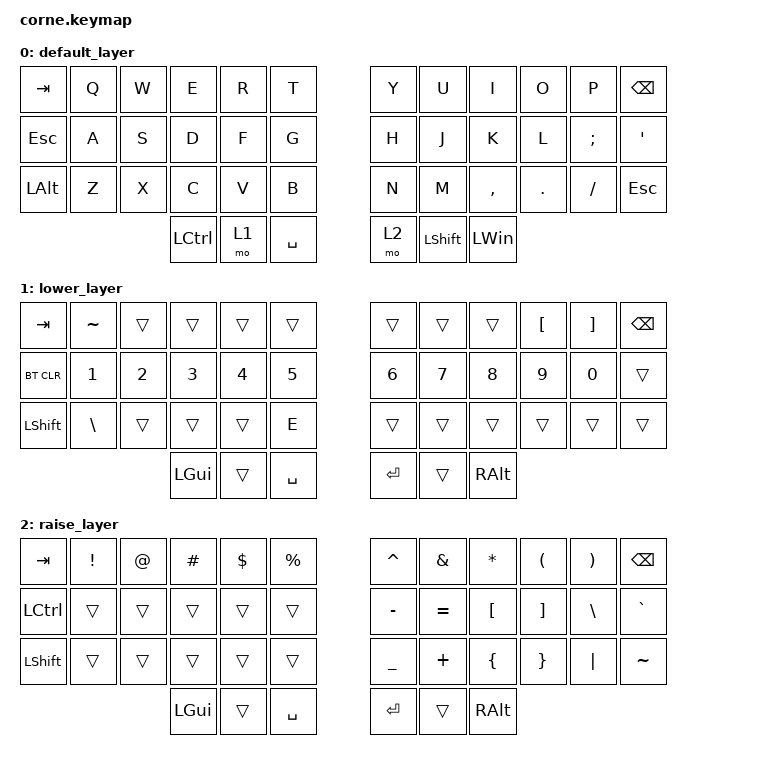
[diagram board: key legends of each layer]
/*
 * Copyright (c) 2020 The ZMK Contributors
 *
 * SPDX-License-Identifier: MIT
 */

#include <behaviors.dtsi>
#include <dt-bindings/zmk/bt.h>
#include <dt-bindings/zmk/keys.h>

/ {
    combos {
        compatible = "zmk,combos";

        combo_esc {
            timeout-ms = <50>;
            key-positions = <0 1>;
            bindings = <&kp ESC>;
        };
    };

    behaviors {
        ss_hs_modmorph: ss_hs_modmorph {
            compatible = "zmk,behavior-mod-morph";
            label = "SS_HS_MODMORPH";
            bindings = <&kp M>, <&kp RIGHT_BRACKET>;

            #binding-cells = <0>;
            mods = <(MOD_LSFT|MOD_RSFT)>;
        };

        kh_hs_tapdance: kh_hs_tapdance {
            compatible = "zmk,behavior-tap-dance";
            label = "KH_HS_TAPDANCE";
            #binding-cells = <0>;
            tapping-term-ms = <200>;
            bindings = <&kp LEFT_BRACKET>, <&kp RIGHT_BRACKET>;
        };

        hrm: hrm {
            compatible = "zmk,behavior-hold-tap";
            #binding-cells = <2>;
            flavor = "tap-preferred";
            tapping-term-ms = <200>;
            quick-tap-ms = <200>;
            require-prior-idle-ms = <125>;
            bindings = <&kp>, <&kp>;
        };
    };

    keymap {
        compatible = "zmk,keymap";

        default_layer {
            // -----------------------------------------------------------------------------------------
            // |  TAB |  Q  |  W  |  E  |  R  |  T  |   |  Y  |  U   |  I  |  O  |  P  | BKSP |
            // | CTRL |  A  |  S  |  D  |  F  |  G  |   |  H  |  J   |  K  |  L  |  ;  |  '   |
            // | SHFT |  Z  |  X  |  C  |  V  |  B  |   |  N  |  M   |  ,  |  .  |  /  | ESC  |
            //                    | GUI | LWR | SPC |   | ENT | RSE  | ALT |

            bindings = <
&kp TAB       &kp Q  &kp W  &kp E      &kp R  &kp T        &kp Y  &kp U           &kp I         &kp O    &kp P     &kp BSPC
&kp ESCAPE    &kp A  &kp S  &kp D      &kp F  &kp G        &kp H  &kp J           &kp K         &kp L    &kp SEMI  &kp SQT
&kp LEFT_ALT  &kp Z  &kp X  &kp C      &kp V  &kp B        &kp N  &kp M           &kp COMMA     &kp DOT  &kp FSLH  &kp ESC
                            &kp LCTRL  &mo 1  &kp SPACE    &mo 2  &kp LEFT_SHIFT  &kp LEFT_WIN
            >;
        };

        lower_layer {
            // -----------------------------------------------------------------------------------------
            // |  TAB |  1  |  2  |  3  |  4  |  5  |   |  6  |  7  |  8  |  9  |  0  | BKSP |
            // | BTCLR| BT1 | BT2 | BT3 | BT4 | BT5 |   | LFT | DWN |  UP | RGT |     |      |
            // | SHFT |     |     |     |     |     |   |     |     |     |     |     |      |
            //                    | GUI |     | SPC |   | ENT |     | ALT |

            bindings = <
&kp TAB     &kp TILDE      &trans        &trans        &trans        &trans       &trans        &trans  &trans    &kp LEFT_BRACKET  &kp RIGHT_BRACKET  &kp BSPC
&bt BT_CLR  &kp NUMBER_1   &kp NUMBER_2  &kp NUMBER_3  &kp NUMBER_4  &kp N5       &kp NUMBER_6  &kp N7  &kp N8    &kp N9            &kp N0             &trans
&kp LSHFT   &kp BACKSLASH  &trans        &trans        &trans        &kp E        &trans        &trans  &trans    &trans            &trans             &trans
                                         &kp LGUI      &trans        &kp SPACE    &kp RET       &trans  &kp RALT
            >;
        };

        raise_layer {
            // -----------------------------------------------------------------------------------------
            // |  TAB |  !  |  @  |  #  |  $  |  %  |   |  ^  |  &  |  *  |  (  |  )  | BKSP |
            // | CTRL |     |     |     |     |     |   |  -  |  =  |  [  |  ]  |  \  |  `   |
            // | SHFT |     |     |     |     |     |   |  _  |  +  |  {  |  }  | "|" |  ~   |
            //                    | GUI |     | SPC |   | ENT |     | ALT |

            bindings = <
&kp TAB    &kp EXCL  &kp AT  &kp HASH  &kp DLLR  &kp PRCNT    &kp CARET  &kp AMPS   &kp ASTRK  &kp LPAR  &kp RPAR  &kp BSPC
&kp LCTRL  &trans    &trans  &trans    &trans    &trans       &kp MINUS  &kp EQUAL  &kp LBKT   &kp RBKT  &kp BSLH  &kp GRAVE
&kp LSHFT  &trans    &trans  &trans    &trans    &trans       &kp UNDER  &kp PLUS   &kp LBRC   &kp RBRC  &kp PIPE  &kp TILDE
                             &kp LGUI  &trans    &kp SPACE    &kp RET    &trans     &kp RALT
            >;
        };
    };
};
